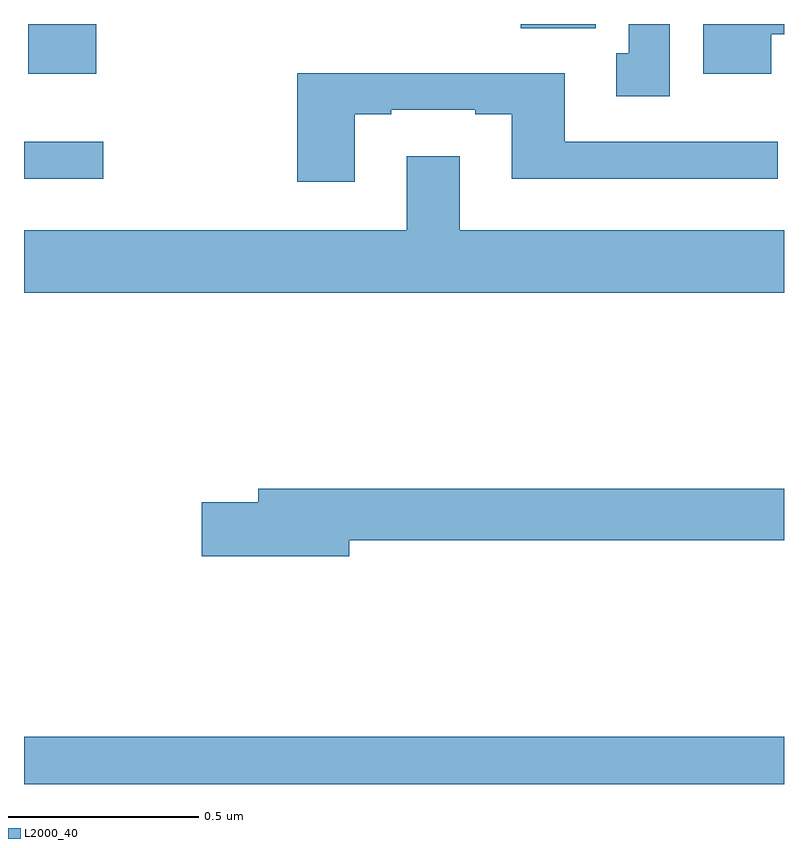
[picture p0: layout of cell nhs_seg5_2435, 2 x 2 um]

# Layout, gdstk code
import gdstk
lib = gdstk.Library(unit=1e-6, precision=1e-09)
def R(c, l, rs):  # rectangles x0, y0, x1, y1
    for r in rs: c.add(gdstk.rectangle(r[:2], r[2:], *l))
def P(c, l, *ps):  # polygons
    for p in ps: c.add(gdstk.Polygon(p, *l))
L2000_40 = (2000, 40)

nhs_seg5_2435 = lib.new_cell('nhs_seg5_2435')
R(nhs_seg5_2435, L2000_40, [(144,856.799,146,856.924), (144,858.392,144.208,858.489), (144.011,858.668,144.19,858.799), (145.307,858.788,145.504,858.799)])
P(nhs_seg5_2435, L2000_40, [(145.699,858.799),(145.592,858.799),(145.592,858.722),(145.559,858.722),(145.559,858.609),(145.699,858.609)],
  [(145.966,858.772),(146,858.772),(146,858.799),(145.787,858.799),(145.787,858.668),(145.966,858.668)],
  [(144.871,858.561),(144.967,858.561),(144.967,858.573),(145.187,858.573),(145.187,858.561),(145.283,858.561),(145.283,858.392),(145.984,858.392),(145.984,858.489),(145.423,858.489),(145.423,858.67),(144.719,858.67),(144.719,858.384),(144.871,858.384)],
  [(146,858.256),(145.147,858.256),(145.147,858.451),(145.007,858.451),(145.007,858.256),(144,858.256),(144,858.092),(146,858.092)],
  [(144.856,857.44),(146,857.44),(146,857.576),(144.617,857.576),(144.617,857.54),(144.468,857.54),(144.468,857.398),(144.856,857.398)])

lib.write_gds('nhs_seg5_2435.gds')
